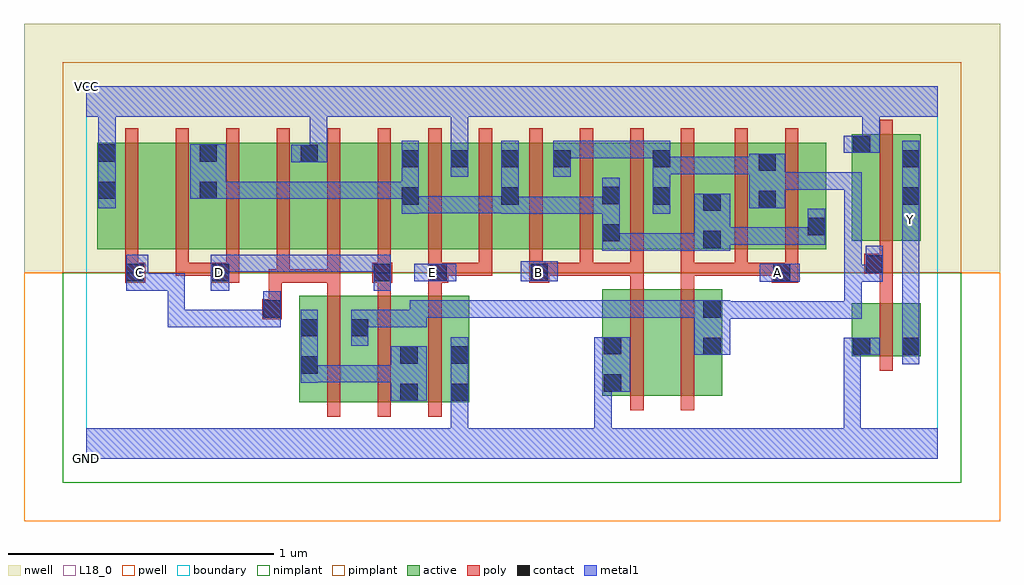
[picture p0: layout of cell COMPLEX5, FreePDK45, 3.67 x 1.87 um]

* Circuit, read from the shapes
.subckt COMPLEX5 A B C D E GND VCC Y
M1 n1 C n2 VSUBS nfet w=0.4u l=0.05u
M2 n2 D n1 VSUBS nfet w=0.4u l=0.05u
M3 GND E n2 VSUBS nfet w=0.4u l=0.05u
M4 n3 B GND VSUBS nfet w=0.4u l=0.05u
M5 n1 A n3 VSUBS nfet w=0.4u l=0.05u
M6 Y n1 GND VSUBS nfet w=0.2u l=0.05u
M7 n4 C VCC n5 pfet w=0.4u l=0.05u
M8 n6 D n4 n5 pfet w=0.4u l=0.05u
M9 n7 D n6 n5 pfet w=0.4u l=0.05u
M10 VCC C n7 n5 pfet w=0.4u l=0.05u
M11 n8 C VCC n5 pfet w=0.4u l=0.05u
M12 n6 D n8 n5 pfet w=0.4u l=0.05u
M13 VCC E n6 n5 pfet w=0.4u l=0.05u m=2
M14 n1 B n6 n5 pfet w=0.4u l=0.05u m=3
M15 n6 A n1 n5 pfet w=0.4u l=0.05u m=3
M16 Y n1 VCC n5 pfet w=0.4u l=0.05u
.ends

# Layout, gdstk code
import gdstk
lib = gdstk.Library(unit=1e-6, precision=1e-09)
def R(c, l, rs):  # rectangles x0, y0, x1, y1
    for r in rs: c.add(gdstk.rectangle(r[:2], r[2:], *l))
def A(c, l, x, y, w, h, nx, ny, dx, dy):  # array of equal rectangles
    R(c, l, [(x+i*dx, y+j*dy, x+i*dx+w, y+j*dy+h) for i in range(nx) for j in range(ny)])
active = (1, 0)
pwell = (2, 0)
nwell = (3, 0)
nimplant = (4, 0)
pimplant = (5, 0)
poly = (9, 0)
contact = (10, 0)
metal1 = (11, 0)
L18_0 = (18, 0)
boundary = (235, 0)

complex5 = lib.new_cell('COMPLEX5')
A(complex5, active, 0.04, 0.787, 0.225, 0.4, 3, 1, 0.38, 0)
A(complex5, active, 0.265, 0.787, 0.23, 0.4, 3, 1, 0.38, 0)
R(complex5, active, [(0.8,0.212,1.065,0.612), (0.99,0.212,1.25,0.612), (1.175,0.212,1.44,0.612), (1.175,0.212,1.25,0.492), (1.365,0.212,1.44,0.612), (1.94,0.237,2.165,0.637), (1.94,0.237,2.015,0.637), (2.165,0.237,2.39,0.637), (0.8,0.245,0.875,0.612), (0.99,0.245,1.065,0.612), (2.315,0.245,2.39,0.637), (2.877,0.385,2.952,0.585), (2.877,0.385,3.137,0.585), (3.062,0.385,3.137,0.585), (0.04,0.787,0.115,1.187), (1.18,0.787,1.44,1.187), (1.365,0.787,1.63,1.187), (1.555,0.787,1.825,1.187), (1.75,0.787,2.01,1.187), (1.935,0.787,2.2,1.187), (1.935,0.787,2.01,1.07), (2.125,0.787,2.39,1.187), (2.315,0.787,2.597,1.187), (2.315,0.787,2.39,1.07), (2.522,0.787,2.782,1.187), (2.707,0.787,2.782,1.047), (1.365,0.802,1.44,1.187), (2.877,0.82,3.137,1.22), (3.062,0.82,3.137,1.165), (0.42,0.907,0.495,1.187), (0.8,0.907,0.875,1.185), (1.18,0.907,1.255,1.187), (1.555,0.907,1.63,1.187), (1.75,0.907,1.825,1.187), (2.125,0.907,2.2,1.187), (2.522,0.907,2.597,1.187), (2.877,0.907,2.952,1.22)])
R(complex5, pwell, [(-0.235,-0.235,3.435,0.7)])
R(complex5, nwell, [(-0.235,0.7,3.435,1.635)])
R(complex5, nimplant, [(-0.09,-0.09,3.29,0.7)])
R(complex5, pimplant, [(-0.09,0.7,3.29,1.49)])
A(complex5, poly, 0.905, 0.157, 0.05, 0.51, 3, 1, 0.19, 0)
A(complex5, poly, 0.905, 0.617, 0.05, 0.095, 3, 1, 0.19, 0)
A(complex5, poly, 0.145, 0.687, 0.05, 0.095, 3, 1, 0.19, 0)
A(complex5, poly, 1.095, 0.687, 0.05, 0.095, 7, 1, 0.19, 0)
A(complex5, poly, 1.855, 0.687, 0.05, 0.05, 3, 1, 0.19, 0)
A(complex5, poly, 0.145, 0.732, 0.05, 0.51, 12, 1, 0.19, 0)
R(complex5, poly, [(2.045,0.182,2.095,0.692), (2.235,0.182,2.285,0.692), (2.982,0.33,3.032,0.64), (0.66,0.525,0.735,0.6), (0.685,0.55,0.735,0.6), (0.685,0.55,0.735,0.6), (0.685,0.55,0.735,0.712), (2.982,0.59,3.032,0.745), (2.045,0.642,2.095,0.737), (2.235,0.642,2.285,0.737), (0.145,0.662,0.22,0.737), (0.467,0.662,0.575,0.737), (0.685,0.662,0.765,0.712), (0.715,0.662,0.955,0.712), (0.715,0.662,0.765,0.782), (0.905,0.662,0.955,0.712), (0.905,0.662,0.955,0.712), (0.905,0.662,0.955,0.712), (0.905,0.662,0.955,0.782), (1.075,0.662,1.15,0.737), (1.285,0.662,1.36,0.737), (1.665,0.662,1.74,0.737), (2.577,0.662,2.677,0.737), (0.335,0.687,0.385,0.737), (0.335,0.687,0.385,0.737), (0.335,0.687,0.385,0.737), (0.335,0.687,0.517,0.737), (1.31,0.687,1.36,0.737), (1.31,0.687,1.36,0.737), (1.31,0.687,1.525,0.737), (1.475,0.687,1.525,0.737), (1.69,0.687,1.74,0.737), (1.69,0.687,1.74,0.737), (1.69,0.687,1.905,0.737), (1.855,0.687,1.905,0.737), (1.855,0.687,1.905,0.737), (1.855,0.687,2.095,0.737), (2.235,0.687,2.285,0.737), (2.235,0.687,2.285,0.737), (2.235,0.687,2.487,0.737), (2.437,0.687,2.487,0.782), (2.437,0.687,2.487,0.737), (2.437,0.687,2.627,0.737), (2.577,0.687,2.627,0.737), (2.577,0.687,2.627,0.737), (2.627,0.687,2.677,0.782), (2.925,0.695,3.032,0.77), (2.982,0.72,3.032,0.815), (2.437,0.732,2.487,1.242), (2.627,0.732,2.677,1.242), (2.982,0.765,3.032,1.275)])
R(complex5, contact, [(1.18,0.217,1.245,0.282), (1.37,0.217,1.435,0.282), (1.945,0.252,2.01,0.317), (0.805,0.32,0.87,0.385), (1.18,0.357,1.245,0.422), (1.37,0.357,1.435,0.422), (2.32,0.39,2.385,0.455), (2.882,0.39,2.947,0.455), (3.067,0.39,3.132,0.455), (1.945,0.392,2.01,0.457), (0.805,0.46,0.87,0.525), (0.995,0.46,1.06,0.525), (0.665,0.53,0.73,0.595), (2.32,0.53,2.385,0.595), (0.15,0.667,0.215,0.732), (0.472,0.667,0.537,0.732), (1.08,0.667,1.145,0.732), (1.29,0.667,1.355,0.732), (1.67,0.667,1.735,0.732), (2.582,0.667,2.647,0.732), (2.93,0.7,2.995,0.765), (2.32,0.792,2.385,0.857), (1.94,0.817,2.005,0.882), (2.712,0.84,2.777,0.905), (2.32,0.932,2.385,0.997), (2.527,0.942,2.592,1.007), (1.185,0.955,1.25,1.02), (1.56,0.955,1.625,1.02), (2.13,0.955,2.195,1.02), (3.067,0.955,3.132,1.02), (1.94,0.957,2.005,1.022), (0.045,0.977,0.11,1.042), (0.425,0.977,0.49,1.042), (2.527,1.082,2.592,1.147), (1.185,1.095,1.25,1.16), (1.37,1.095,1.435,1.16), (1.56,1.095,1.625,1.16), (1.755,1.095,1.82,1.16), (2.13,1.095,2.195,1.16), (3.067,1.095,3.132,1.16), (0.805,1.115,0.87,1.18), (0.045,1.117,0.11,1.182), (0.425,1.117,0.49,1.182), (2.882,1.15,2.947,1.215)])
R(complex5, metal1, [(0,0,3.2,0.115), (1.37,0.05,1.435,0.115), (1.37,0.05,1.435,0.115), (1.37,0.05,1.435,0.247), (1.91,0.05,1.975,0.317), (2.847,0.05,2.912,0.115), (2.847,0.05,2.912,0.115), (2.847,0.05,2.912,0.115), (2.847,0.05,2.912,0.115), (2.847,0.05,2.912,0.115), (2.847,0.05,2.912,0.115), (2.847,0.05,2.912,0.455), (1.37,0.182,1.435,0.457), (1.145,0.217,1.28,0.422), (1.91,0.252,1.975,0.317), (1.91,0.252,1.975,0.317), (1.91,0.252,2.045,0.457), (0.805,0.285,0.87,0.56), (0.805,0.287,0.95,0.352), (0.885,0.287,0.95,0.352), (0.885,0.287,1.072,0.352), (1.007,0.287,1.072,0.352), (1.007,0.287,1.16,0.352), (1.095,0.287,1.16,0.352), (1.095,0.287,1.21,0.352), (3.067,0.355,3.132,0.49), (2.285,0.39,2.42,0.595), (2.847,0.39,2.982,0.455), (0.995,0.425,1.06,0.56), (3.067,0.425,3.132,0.897), (0.305,0.495,0.37,0.56), (0.305,0.495,0.507,0.56), (0.305,0.495,0.37,0.697), (0.442,0.495,0.507,0.56), (0.442,0.495,0.662,0.56), (0.597,0.495,0.662,0.56), (0.597,0.495,0.662,0.56), (0.597,0.495,0.662,0.56), (0.597,0.495,0.73,0.56), (0.665,0.495,0.73,0.63), (0.995,0.495,1.16,0.56), (1.095,0.495,1.16,0.56), (1.095,0.495,1.28,0.56), (1.215,0.495,1.28,0.595), (2.355,0.527,2.42,0.592), (2.355,0.527,2.42,0.592), (2.355,0.527,2.557,0.592), (2.492,0.527,2.557,0.592), (2.492,0.527,2.557,0.592), (2.492,0.527,2.557,0.592), (2.492,0.527,2.775,0.592), (2.71,0.527,2.915,0.592), (2.71,0.527,2.775,0.592), (2.85,0.527,2.915,0.592), (2.85,0.527,2.915,0.73), (1.215,0.53,1.297,0.595), (1.232,0.53,1.297,0.595), (1.232,0.53,1.435,0.595), (1.37,0.53,1.435,0.595), (1.37,0.53,1.435,0.595), (1.37,0.53,1.435,0.595), (1.37,0.53,1.572,0.595), (1.507,0.53,1.572,0.595), (1.507,0.53,1.572,0.595), (1.507,0.53,1.572,0.595), (1.507,0.53,1.82,0.595), (1.755,0.53,1.82,0.595), (1.755,0.53,1.957,0.595), (1.892,0.53,1.957,0.595), (1.892,0.53,1.957,0.595), (1.892,0.53,1.957,0.595), (1.892,0.53,2.142,0.595), (2.077,0.53,2.212,0.595), (2.077,0.53,2.142,0.595), (2.147,0.53,2.212,0.595), (2.147,0.53,2.28,0.595), (2.215,0.53,2.35,0.595), (2.215,0.53,2.28,0.595), (0.15,0.632,0.232,0.767), (0.167,0.632,0.232,0.697), (0.167,0.632,0.232,0.697), (0.167,0.632,0.37,0.697), (0.305,0.632,0.37,0.697), (0.305,0.632,0.37,0.697), (0.305,0.632,0.37,0.697), (0.467,0.632,0.537,0.767), (1.08,0.632,1.145,0.767), (2.532,0.665,2.682,0.732), (2.85,0.665,2.995,0.73), (2.85,0.665,2.915,1.077), (2.85,0.665,2.915,0.73), (2.85,0.665,2.915,0.73), (2.85,0.665,2.915,0.73), (2.93,0.665,2.995,0.8), (1.232,0.667,1.39,0.732), (1.632,0.667,1.772,0.742), (0.472,0.702,0.675,0.767), (0.61,0.702,0.675,0.767), (0.61,0.702,0.812,0.767), (0.747,0.702,0.812,0.767), (0.747,0.702,0.812,0.767), (0.747,0.702,0.812,0.767), (0.747,0.702,0.95,0.767), (0.885,0.702,0.95,0.767), (0.885,0.702,1.072,0.767), (1.007,0.702,1.072,0.767), (1.007,0.702,1.145,0.767), (1.94,0.782,2.005,1.057), (1.94,0.782,2.142,0.847), (2.077,0.782,2.212,0.847), (2.077,0.782,2.142,0.847), (2.147,0.782,2.212,0.847), (2.147,0.782,2.28,0.847), (2.215,0.782,2.35,0.847), (2.215,0.782,2.28,0.847), (2.285,0.782,2.42,0.997), (2.355,0.805,2.42,0.87), (2.355,0.805,2.42,0.87), (2.355,0.805,2.637,0.87), (2.572,0.805,2.777,0.87), (2.572,0.805,2.637,0.87), (2.572,0.805,2.637,0.87), (2.572,0.805,2.637,0.87), (2.712,0.805,2.777,0.94), (3.067,0.832,3.132,0.967), (3.067,0.902,3.132,0.985), (1.185,0.92,1.25,1.195), (1.56,0.92,1.625,1.195), (1.56,0.92,1.625,0.985), (1.56,0.92,1.625,0.985), (1.56,0.92,1.762,0.985), (1.697,0.92,1.762,0.985), (1.697,0.92,2.005,0.985), (1.94,0.92,2.005,0.985), (1.94,0.92,2.005,0.985), (2.13,0.92,2.195,1.195), (3.067,0.92,3.132,1.195), (1.185,0.922,1.297,0.987), (1.232,0.922,1.297,0.987), (1.232,0.922,1.435,0.987), (1.37,0.922,1.435,0.987), (1.37,0.922,1.435,0.987), (1.37,0.922,1.435,0.987), (1.37,0.922,1.625,0.987), (0.045,0.942,0.11,1.217), (2.492,0.942,2.627,1.147), (0.39,0.977,0.525,1.182), (0.46,0.977,0.525,1.042), (0.46,0.977,0.525,1.042), (0.46,0.977,0.675,1.042), (0.61,0.977,0.675,1.042), (0.61,0.977,0.675,1.042), (0.61,0.977,0.675,1.042), (0.61,0.977,0.87,1.042), (0.805,0.977,0.87,1.042), (0.805,0.977,1.007,1.042), (0.942,0.977,1.007,1.042), (0.942,0.977,1.007,1.042), (0.942,0.977,1.007,1.042), (0.942,0.977,1.145,1.042), (1.08,0.977,1.145,1.042), (1.08,0.977,1.25,1.042), (2.562,1.012,2.775,1.077), (2.71,1.012,2.915,1.077), (2.71,1.012,2.775,1.077), (2.71,1.012,2.775,1.077), (2.71,1.012,2.775,1.077), (2.85,1.012,2.915,1.077), (1.37,1.06,1.435,1.195), (1.755,1.06,1.82,1.195), (2.13,1.07,2.28,1.135), (2.215,1.07,2.28,1.135), (2.215,1.07,2.417,1.135), (2.352,1.07,2.557,1.135), (2.352,1.07,2.417,1.135), (2.352,1.07,2.417,1.135), (2.352,1.07,2.417,1.135), (0.77,1.115,0.905,1.18), (0.84,1.115,0.905,1.35), (1.37,1.13,1.435,1.35), (1.755,1.13,1.82,1.195), (1.755,1.13,1.82,1.195), (1.755,1.13,2.057,1.195), (1.992,1.13,2.057,1.195), (1.992,1.13,2.142,1.195), (2.077,1.13,2.142,1.195), (2.077,1.13,2.195,1.195), (2.847,1.15,2.982,1.215), (2.917,1.15,2.982,1.35), (0.045,1.152,0.11,1.35), (0,1.285,3.2,1.4)])
R(complex5, L18_0, [(0,0,3.2,0.115), (1.37,0.05,1.435,0.115), (1.37,0.05,1.435,0.115), (1.37,0.05,1.435,0.247), (1.91,0.05,1.975,0.317), (2.847,0.05,2.912,0.115), (2.847,0.05,2.912,0.115), (2.847,0.05,2.912,0.115), (2.847,0.05,2.912,0.115), (2.847,0.05,2.912,0.115), (2.847,0.05,2.912,0.115), (2.847,0.05,2.912,0.455), (1.37,0.182,1.435,0.457), (1.91,0.252,1.975,0.317), (1.91,0.252,1.975,0.317), (1.91,0.252,2.045,0.457), (3.067,0.355,3.132,0.49), (2.847,0.39,2.982,0.455), (3.067,0.425,3.132,0.897), (0.305,0.495,0.37,0.56), (0.305,0.495,0.37,0.697), (0.305,0.495,0.507,0.56), (0.442,0.495,0.507,0.56), (0.442,0.495,0.662,0.56), (0.597,0.495,0.662,0.56), (0.597,0.495,0.662,0.56), (0.597,0.495,0.662,0.56), (0.597,0.495,0.73,0.56), (0.665,0.495,0.73,0.63), (0.15,0.632,0.232,0.767), (0.167,0.632,0.232,0.697), (0.167,0.632,0.232,0.697), (0.167,0.632,0.37,0.697), (0.305,0.632,0.37,0.697), (0.305,0.632,0.37,0.697), (0.305,0.632,0.37,0.697), (0.467,0.632,0.537,0.767), (1.08,0.632,1.145,0.767), (2.532,0.665,2.682,0.732), (0.167,0.667,0.232,0.732), (0.467,0.667,0.532,0.732), (1.232,0.667,1.39,0.732), (1.267,0.667,1.332,0.732), (1.632,0.667,1.772,0.742), (1.667,0.667,1.732,0.732), (2.567,0.667,2.632,0.732), (0.472,0.702,0.675,0.767), (0.61,0.702,0.675,0.767), (0.61,0.702,0.812,0.767), (0.747,0.702,0.812,0.767), (0.747,0.702,0.812,0.767), (0.747,0.702,0.812,0.767), (0.747,0.702,0.95,0.767), (0.885,0.702,0.95,0.767), (0.885,0.702,1.072,0.767), (1.007,0.702,1.072,0.767), (1.007,0.702,1.145,0.767), (3.067,0.832,3.132,0.967), (3.067,0.867,3.132,0.932), (3.067,0.902,3.132,0.985), (3.067,0.92,3.132,1.195), (0.045,0.942,0.11,1.217), (1.37,1.06,1.435,1.195), (0.77,1.115,0.905,1.18), (0.84,1.115,0.905,1.35), (1.37,1.13,1.435,1.35), (2.847,1.15,2.982,1.215), (2.917,1.15,2.982,1.35), (0.045,1.152,0.11,1.35), (0,1.285,3.2,1.4)])
R(complex5, boundary, [(0,0,3.2,1.4)])
complex5.add(gdstk.Label('A', (2.6,0.7), layer=11, texttype=0))
complex5.add(gdstk.Label('B', (1.7,0.7), layer=11, texttype=0))
complex5.add(gdstk.Label('C', (0.2,0.7), layer=11, texttype=0))
complex5.add(gdstk.Label('D', (0.5,0.7), layer=11, texttype=0))
complex5.add(gdstk.Label('E', (1.3,0.7), layer=11, texttype=0))
complex5.add(gdstk.Label('Y', (3.1,0.9), layer=11, texttype=0))
complex5.add(gdstk.Label('VCC', (0,1.4), layer=11, texttype=0))
complex5.add(gdstk.Label('GND', (0,0), layer=11, texttype=0))

lib.write_gds('COMPLEX5.gds')
